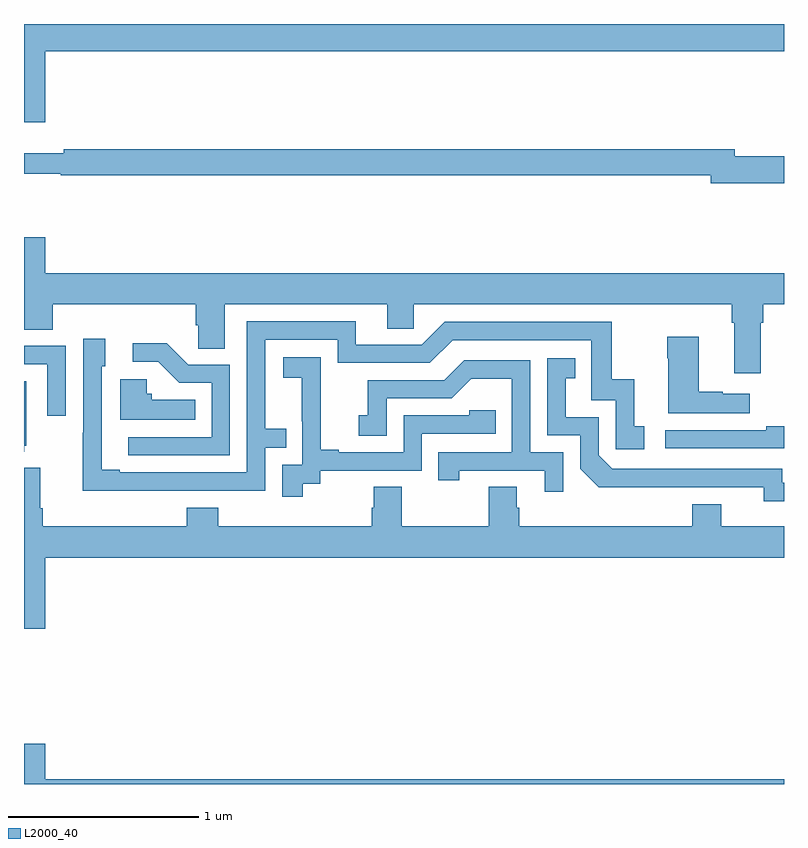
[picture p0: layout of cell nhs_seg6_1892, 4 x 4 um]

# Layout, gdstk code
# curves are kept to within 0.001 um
import gdstk
lib = gdstk.Library(unit=1e-6, precision=1e-09)
def P(c, l, *ps):  # polygons
    for p in ps: c.add(gdstk.Polygon(p, *l))
L2000_40 = (2000, 40)

nhs_seg6_1892 = lib.new_cell('nhs_seg6_1892')
P(nhs_seg6_1892, L2000_40, [(225.112,927.356),(229,927.356),(229,927.5),(225,927.5),(225,926.982),(225.112,926.982)],
  [(229,926.804),(228.742,926.804),(228.742,926.84),(225.208,926.84),(225.208,926.821),(225,926.821),(225,926.712),(225.194,926.712),(225.194,926.704),(228.614,926.704),(228.614,926.662),(229,926.662)],
  [(228.877,925.928),(228.89,925.928),(228.89,926.024),(229,926.024),(229,926.188),(225.112,926.188),(225.112,926.377),(225,926.377),(225,925.891),(225.152,925.891),(225.152,926.024),(225.905,926.024),(225.905,925.915),(225.918,925.915),(225.918,925.792),(226.057,925.792),(226.057,926.024),(226.913,926.024),(226.913,925.897),(227.052,925.897),(227.052,926.024),(228.725,926.024),(228.725,925.928),(228.737,925.928),(228.737,925.662),(228.877,925.662)],
  [(225.773,925.044),(226.269,925.044),(226.269,925.269),(226.379,925.269),(226.379,925.37),(226.269,925.37),(226.269,925.839),(226.65,925.839),(226.65,925.716),(227.136,925.716),(227.256,925.836),(227.985,925.836),(227.985,925.521),(228.114,925.521),(228.114,925.263),(228.265,925.263),(228.265,925.383),(228.212,925.383),(228.212,925.63),(228.094,925.63),(228.094,925.932),(227.214,925.932),(227.094,925.812),(226.747,925.812),(226.747,925.935),(226.173,925.935),(226.173,925.14),(225.505,925.14),(225.505,925.153),(225.408,925.153),(225.408,925.698),(225.427,925.698),(225.427,925.843),(225.312,925.843),(225.312,925.349),(225.31,925.349),(225.31,925.043)],
  [(228.82,925.555),(228.677,925.555),(228.677,925.565),(228.55,925.565),(228.55,925.855),(228.385,925.855),(228.385,925.742),(228.392,925.742),(228.392,925.451),(228.82,925.451)],
  [(226.083,925.707),(225.864,925.707),(225.751,925.82),(225.573,925.82),(225.573,925.722),(225.707,925.722),(225.818,925.611),(225.987,925.611),(225.987,925.326),(225.549,925.326),(225.549,925.23),(226.083,925.23)],
  [(225.219,925.806),(225,925.806),(225,925.71),(225.123,925.71),(225.123,925.437),(225.219,925.437)],
  [(226.468,925.081),(226.56,925.081),(226.56,925.149),(227.094,925.149),(227.094,925.344),(227.483,925.344),(227.483,925.467),(227.343,925.467),(227.343,925.44),(226.998,925.44),(226.998,925.245),(226.657,925.245),(226.657,925.258),(226.562,925.258),(226.562,925.541),(226.563,925.541),(226.563,925.747),(226.365,925.747),(226.365,925.637),(226.463,925.637),(226.463,925.409),(226.464,925.409),(226.464,925.179),(226.359,925.179),(226.359,925.011),(226.468,925.011)],
  [(229,925.086),(228.99,925.086),(228.99,925.158),(228.096,925.158),(228.024,925.23),(228.024,925.431),(227.851,925.431),(227.851,925.635),(227.9,925.635),(227.9,925.741),(227.754,925.741),(227.754,925.335),(227.928,925.335),(227.928,925.158),(228.026,925.061),(228.894,925.062),(228.894,924.989),(229,924.989)],
  [(227.838,925.245),(227.664,925.245),(227.664,925.731),(227.318,925.731),(227.213,925.626),(226.81,925.626),(226.81,925.441),(226.761,925.441),(226.761,925.332),(226.908,925.332),(226.908,925.53),(227.25,925.53),(227.354,925.634),(227.568,925.634),(227.568,925.245),(227.179,925.245),(227.179,925.098),(227.29,925.098),(227.29,925.149),(227.741,925.149),(227.741,925.038),(227.838,925.038)],
  [(225.902,925.522),(225.672,925.522),(225.672,925.554),(225.645,925.554),(225.645,925.63),(225.506,925.63),(225.506,925.418),(225.902,925.418)],
  [(225.002,925.281),(225.013,925.281),(225.013,925.621),(225,925.621),(225,925.25),(225.002,925.25)],
  [(229,925.382),(228.907,925.382),(228.907,925.362),(228.375,925.362),(228.375,925.266),(229,925.266)],
  [(225.112,924.692),(229,924.692),(229,924.856),(228.67,924.856),(228.67,924.973),(228.518,924.973),(228.518,924.856),(227.606,924.856),(227.606,924.954),(227.593,924.954),(227.593,925.064),(227.446,925.064),(227.446,924.856),(226.989,924.856),(226.989,925.064),(226.841,925.064),(226.841,924.954),(226.829,924.954),(226.829,924.856),(226.022,924.856),(226.022,924.955),(225.857,924.955),(225.857,924.856),(225.098,924.856),(225.098,924.952),(225.085,924.952),(225.085,925.165),(225,925.165),(225,924.318),(225.112,924.318)],
  [(229,923.524),(225.112,923.524),(225.112,923.713),(225,923.713),(225,923.5),(229,923.5)])

lib.write_gds('nhs_seg6_1892.gds')
